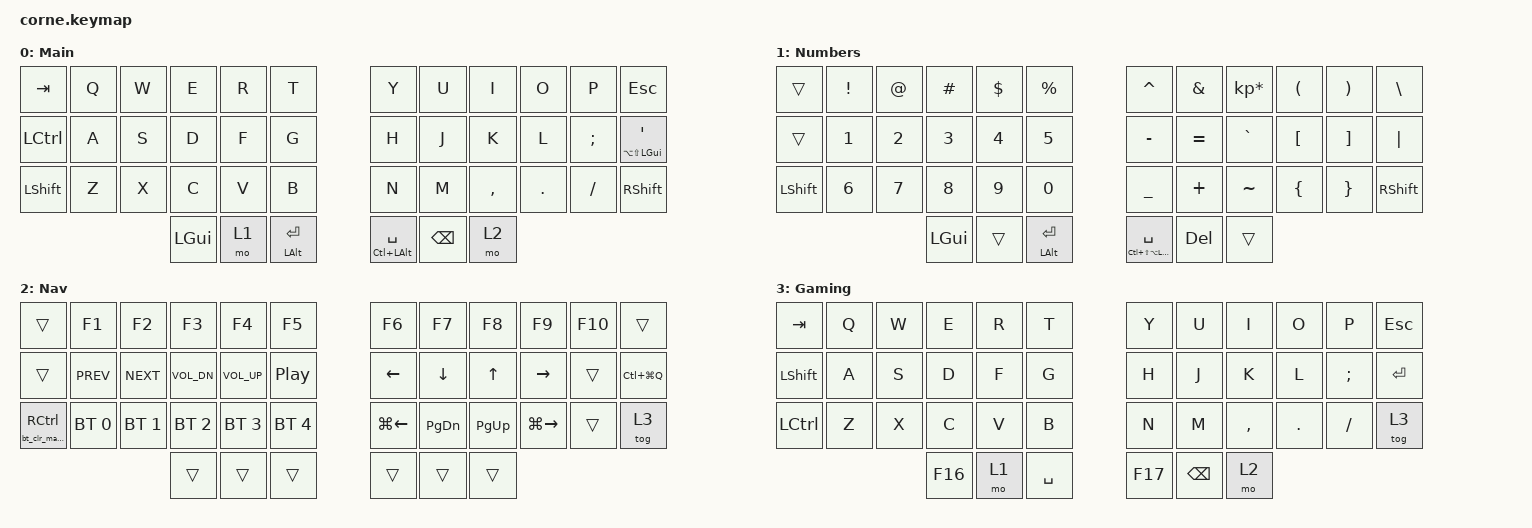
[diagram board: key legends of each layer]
/*
 * Copyright (c) 2020 The ZMK Contributors
 *
 * SPDX-License-Identifier: MIT
 */

#include <behaviors.dtsi>
#include <dt-bindings/zmk/bt.h>
#include <dt-bindings/zmk/keys.h>


/ {
    macros {
        bt_clr_macro: bt_clr_macro {
            compatible = "zmk,behavior-macro";
            #binding-cells = <0>;
            bindings = <&bt BT_CLR>;
        };
    };

    behaviors {
        tp: tap_preferred {
            compatible = "zmk,behavior-hold-tap";
            label = "TAP_PREFERRED";
            #binding-cells = <2>;
            tapping-term-ms = <250>;
            quick-tap-ms = <0>;
            flavor = "tap-preferred";
            bindings = <&kp>, <&kp>;
        };

        btclr_hold: btclr_hold {
            compatible = "zmk,behavior-hold-tap";
            label = "BTCLR_HOLD";
            #binding-cells = <2>;
            tapping-term-ms = <2000>;
            quick-tap-ms = <0>;
            flavor = "tap-preferred";
            bindings = <&bt_clr_macro>, <&kp>;
        };
    };

    keymap {
        compatible = "zmk,keymap";

        default_layer {
            label = "Main";

            // -----------------------------------------------------------------------------------------
            // | TAB  |  Q  |  W  |  E  |  R  |    T    |   |  Y  |  U   |  I  |  O  |  P  | ESC |
            // | CTRL |  A  |  S  |  D  |  F  |    G    |   |  H  |  J   |  K  |  L  |  ;  |  '   |
            // | SHFT |  Z  |  X  |  C  |  V  |    B    |   |  N  |  M   |  ,  |  .  |  /  | SHFT |
            //                    | GUI | LWR | ALT/ENT |   | HYPER/SPC | BKSP  | RSE |

            bindings = <
&kp TAB    &kp Q  &kp W  &kp E     &kp R  &kp T           &kp Y                   &kp U     &kp I      &kp O    &kp P     &kp ESC
&kp LCTRL  &kp A  &kp S  &kp D     &kp F  &kp G           &kp H                   &kp J     &kp K      &kp L    &kp SEMI  &tp LA(LS(LEFT_GUI)) SQT
&kp LSHFT  &kp Z  &kp X  &kp C     &kp V  &kp B           &kp N                   &kp M     &kp COMMA  &kp DOT  &kp FSLH  &kp RSHFT
                         &kp LGUI  &mo 1  &tp LALT RET    &tp LC(LEFT_ALT) SPACE  &kp BSPC  &mo 2
            >;
        };

        numbers {
            label = "Numbers";

            // -----------------------------------------------------------------------------------------
            // |      |  !  |  @  |  #  |  $  |    %     |   |  ^  |  &  |  *  |  (  |  )  |   \   |
            // |      |  1  |  2  |  3  |  4  |    5     |   |  -  |  =  |  `  |  [  |  ]  |  "|"  |
            // | SHFT |  6  |  7  |  8  |  9  |    0     |   |  _  |  +  |  ~  |  {  |  }  | RSHFT |
            //                     | GUI |     | ALT/ENT |   | HYPER/SPACE | BKSP |    |

            bindings = <
&trans     &kp EXCL  &kp AT  &kp HASH  &kp DLLR  &kp PRCNT       &kp CARET                   &kp AMPS   &kp KP_MULTIPLY  &kp LPAR  &kp RPAR  &kp BSLH
&trans     &kp N1    &kp N2  &kp N3    &kp N4    &kp N5          &kp MINUS                   &kp EQUAL  &kp GRAVE        &kp LBKT  &kp RBKT  &kp PIPE
&kp LSHFT  &kp N6    &kp N7  &kp N8    &kp N9    &kp N0          &kp UNDER                   &kp PLUS   &kp TILDE        &kp LBRC  &kp RBRC  &kp RSHFT
                             &kp LGUI  &trans    &tp LALT RET    &tp LC(LS(LA(LGUI))) SPACE  &kp DEL    &trans
            >;
        };

        nav {
            label = "Nav";

            // -----------------------------------------------------------------------------------------
            // |       |  F1  |  F2  |  F3  |  F4  |  F5 |            |  F6  |  F7  |  F8  |  F9  |  F10  |   |
            // |       | Prev | Next | Vol - | Vol + | Play/Pause |   |      | LFT | DWN |  UP | RGT |     |     |
            // | BTCLR (hold 2s) | BT1 | BT2 | BT3 | BT4 | BT5 |   |            |     |     |     |     |     | GAMING |
            //                    |     |     |    |                  |     |     |     |

            bindings = <
&trans  &kp F1        &kp F2        &kp F3        &kp F4        &kp F5          &kp F6              &kp F7         &kp F8     &kp F9               &kp F10  &trans
&trans  &kp C_PREV    &kp C_NEXT    &kp C_VOL_DN  &kp C_VOL_UP  &kp C_PP        &kp LEFT            &kp DOWN       &kp UP     &kp RIGHT            &trans   &kp LC(LG(Q))
&btclr_hold 0 RCTRL  &bt BT_SEL 0  &bt BT_SEL 1  &bt BT_SEL 2  &bt BT_SEL 3  &bt BT_SEL 4    &kp LG(LEFT_ARROW)  &kp PAGE_DOWN  &kp PG_UP  &kp LG(RIGHT_ARROW)  &trans   &tog 3
                                    &trans        &trans        &trans          &trans              &trans         &trans
            >;
        };

        gaming {
            label = "Gaming";

            // -----------------------------------------------------------------------------------------
            // | TAB |  Q  |  W  |  E  |  R  |  T  |   |  Y  |  U  |  I  |  O  |  P  | ESC |
            // | SHFT|  A  |  S  |  D  |  F  |  G  |   |  H  |  J  |  K  |  L  |  ;  | ENTER |
            // | CTRL|  Z  |  X  |  C  |  V  |  B  |   |  N  |  M  |  ,  |  .  |  /  | TOGGLE |
            //             | ALT | NUM | SPC |       | SPC | BSPC | NAV |

            bindings = <
&kp TAB    &kp Q  &kp W  &kp E      &kp R   &kp T        &kp Y      &kp U     &kp I      &kp O    &kp P     &kp ESC
&kp LSHFT  &kp A  &kp S  &kp D      &kp F   &kp G        &kp H      &kp J     &kp K      &kp L    &kp SEMI  &kp ENTER
&kp LCTRL  &kp Z  &kp X  &kp C      &kp V   &kp B        &kp N      &kp M     &kp COMMA  &kp DOT  &kp FSLH  &tog 3
                         &kp F16    &mo 1   &kp SPACE    &kp F17    &kp BSPC  &mo 2
            >;
        };
    };
};
